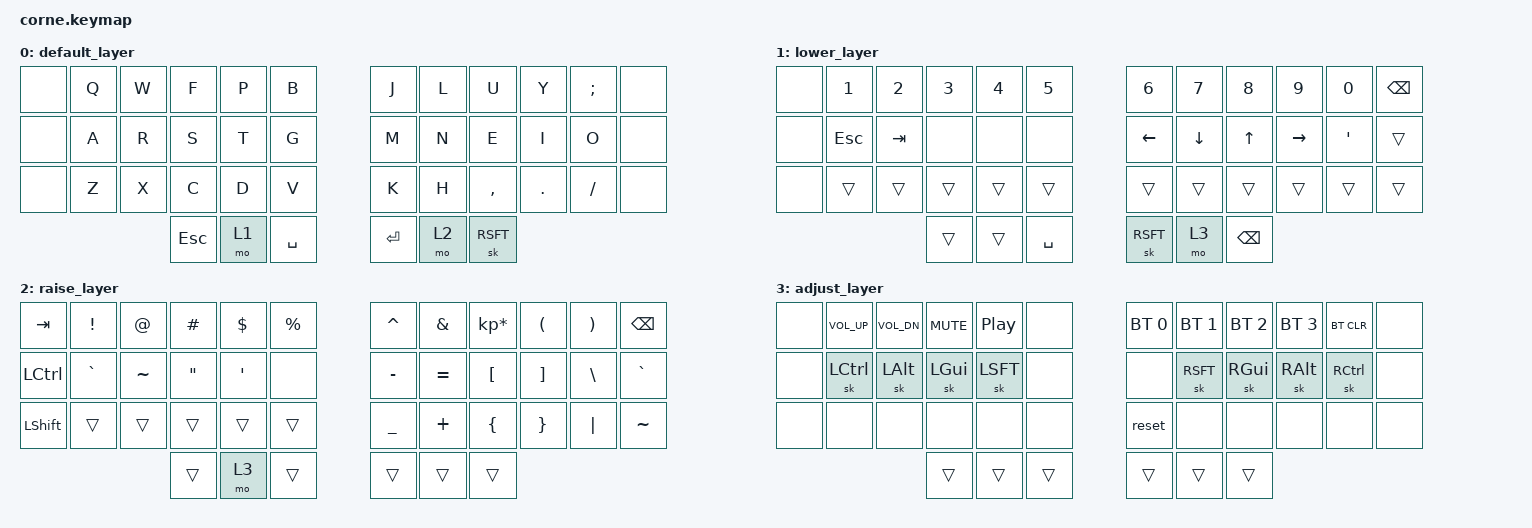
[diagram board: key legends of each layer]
/*
 * Copyright (c) 2020 The ZMK Contributors
 *
 * SPDX-License-Identifier: MIT
 */

#include <behaviors.dtsi>
#include <dt-bindings/zmk/keys.h>
#include <dt-bindings/zmk/bt.h>
#include <dt-bindings/zmk/rgb.h>

/ {
     behaviors {
        hm: homerow_mods {
            compatible = "zmk,behavior-hold-tap";
            label = "HOMEROW_MODS";
            #binding-cells = <2>;
            tapping-term-ms = <250>;
            quick-tap-ms = <0>;
            flavor = "tap-preferred";
            bindings = <&kp>, <&kp>;
        };
    };

        keymap {
                compatible = "zmk,keymap";

                default_layer {
// -----------------------------------------------------------------------------------------
// |   |  Q  |  W  |  F  |  P  |  B  |   |  J  |  L   |  U  |  Y  |  ;  |   |
// |   |  A  |  R  |  S  |  T  |  G  |   |  M  |  N   |  E  |  I  |  O  |   |
// |   |  Z  |  X  |  C  |  D  |  V  |   |  K  |  H   |  ,  |  .  |  /  |   |
//                    | ESC | LWR | SPC |   | ENT | RSE  | BSPC |
                        bindings = <
   &none &kp Q &kp W &kp F &kp P &kp B   &kp J &kp L &kp U     &kp Y   &kp SEMI &none
   &none &kp A &kp R &kp S &kp T &kp G   &kp M &kp N &kp E     &kp I   &kp O    &none
   &none &kp Z &kp X &kp C &kp D &kp V   &kp K &kp H &kp COMMA &kp DOT &kp FSLH &none
              &kp ESC &mo 1 &kp SPACE   &kp RET &mo 2 &sk RSFT
                        >;
                };
                lower_layer {
// -----------------------------------------------------------------------------------------
// |    |  1  |  2  |  3  |  4  |  5  |   |  6  |  7  |  8  |  9  |  0  | BKSP |
// |    | ESC | TAB |     |     |     |   | LFT | DWN |  UP | RGT |  '  |      |
// |    |     |     |     |     |     |   |     |     |     |     |     |      |
//                  | ESC |     | SPC |   | ENT |     | BSPC |
                        bindings = <
   &none &kp N1  &kp N2  &kp N3 &kp N4 &kp N5    &kp N6   &kp N7   &kp N8 &kp N9    &kp N0  &kp BSPC
   &none &kp ESC &kp TAB &none  &none  &none     &kp LEFT &kp DOWN &kp UP &kp RIGHT &kp SQT &trans
   &none &trans  &trans  &trans &trans &trans    &trans   &trans   &trans &trans    &trans  &trans
                        &trans &trans &kp SPACE   &sk RSFT  &mo 3 &kp BSPC
                        >;
                };

                raise_layer {
// -----------------------------------------------------------------------------------------
// |    |  !  |  @  |  #  |  $  |  %  |   |  ^  |  &  |  *  |  (  |  )  | BKSP |
// |    |  `  |  ~  |  "  |  '  |     |   |  -  |  =  |  [  |  ]  |  \  |  `   |
// |    |     |     |     |     |     |   |  _  |  +  |  {  |  }  | "|" |  ~   |
//                  | ESC |     | SPC |   | ENT |     | BSPC |
                        bindings = <
   &kp  TAB  &kp EXCL  &kp AT    &kp HASH &kp DLLR &kp PRCNT   &kp CARET &kp AMPS  &kp KP_MULTIPLY &kp LPAR &kp RPAR &kp BSPC
   &kp LCTRL &kp GRAVE &kp TILDE &kp DQT  &kp SQT  &none       &kp MINUS &kp EQUAL &kp LBKT        &kp RBKT &kp BSLH &kp GRAVE
   &kp LSHFT &trans    &trans    &trans   &trans   &trans      &kp UNDER &kp PLUS  &kp LBRC        &kp RBRC &kp PIPE &kp TILDE
                    	            &trans &mo 3   &trans   &trans   &trans    &trans
                        >;
                };

                adjust_layer {
// -----------------------------------------------------------------------------------------
// |   | VUP | VDN | MUT | P/P |    |   |  BT1  | BT2 | BT3 | BT4 | BT CLR |   |
// |   | CTL | ALT | GUI | SFT |    |   |       |     |     |     |        |   |
// |   |     |     |     |     |    |   | RESET |     |     |     |        |   |
//                     |     |     |     |     |     |
                        bindings = <
   &none &kp C_VOL_UP &kp C_VOL_DN &kp K_MUTE &kp C_PP &none    &bt BT_SEL 0 &bt BT_SEL 1 &bt BT_SEL 2 &bt BT_SEL 3 &bt BT_CLR   &none
   &none &sk LCTL     &sk LALT     &sk LGUI   &sk LSFT &none    &none        &sk RSFT     &sk RGUI     &sk RALT     &sk RCTL     &none
   &none &none        &none        &none      &none    &none    &reset       &none        &none        &none        &none        &none
                                 &trans    &trans   &trans       &trans    &trans      &trans
                        >;
                };
        };
};
